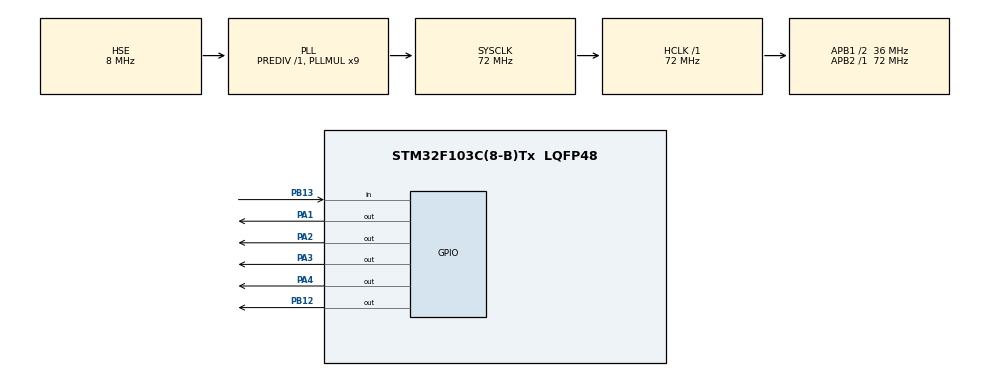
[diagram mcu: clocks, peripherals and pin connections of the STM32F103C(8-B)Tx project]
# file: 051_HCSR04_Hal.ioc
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Mcu.Family=STM32F1
Mcu.Name=STM32F103C(8-B)Tx
Mcu.Package=LQFP48
NVIC.PriorityGroup=NVIC_PRIORITYGROUP_4
PA1.Signal=GPIO_Output
PA13.Mode=Serial_Wire
PA13.Signal=SYS_JTMS-SWDIO
PA14.Mode=Serial_Wire
PA14.Signal=SYS_JTCK-SWCLK
PA2.Signal=GPIO_Output
PA3.Signal=GPIO_Output
PA4.Signal=GPIO_Output
PB12.Signal=GPIO_Output
PB13.Signal=GPIO_Input
PD0-OSC_IN.Mode=HSE-External-Oscillator
PD0-OSC_IN.Signal=RCC_OSC_IN
PD1-OSC_OUT.Mode=HSE-External-Oscillator
PD1-OSC_OUT.Signal=RCC_OSC_OUT
ProjectManager.HeapSize=0x200
ProjectManager.StackSize=0x400
ProjectManager.TargetToolchain=STM32CubeIDE
RCC.AHBFreq_Value=72000000
RCC.APB1CLKDivider=RCC_HCLK_DIV2
RCC.APB1Freq_Value=36000000
RCC.APB1TimFreq_Value=72000000
RCC.APB2Freq_Value=72000000
RCC.APB2TimFreq_Value=72000000
RCC.HCLKFreq_Value=72000000
RCC.PLLMUL=RCC_PLL_MUL9
RCC.PLLSourceVirtual=RCC_PLLSOURCE_HSE
RCC.SYSCLKFreq_VALUE=72000000
RCC.SYSCLKSource=RCC_SYSCLKSOURCE_PLLCLK
RCC.USBFreq_Value=72000000
board=custom

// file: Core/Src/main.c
/* USER CODE BEGIN Header */
/**
  ******************************************************************************
  * @file           : main.c
  * @brief          : Main program body
  ******************************************************************************
  * @attention
  *
  * Copyright (c) 2024 STMicroelectronics.
  * All rights reserved.
  *
  * This software is licensed under terms that can be found in the LICENSE file
  * in the root directory of this software component.
  * If no LICENSE file comes with this software, it is provided AS-IS.
  *
  ******************************************************************************
  */
/* USER CODE END Header */
#include "main.h"

/* USER CODE BEGIN Includes */
#include "dwt_stm32_delay.h"
/* USER CODE END Includes */

/* USER CODE BEGIN PV */
uint16_t distance;
uint32_t time;

/* USER CODE END PV */

void SystemClock_Config(void);
static void MX_GPIO_Init(void);
/* USER CODE BEGIN PFP */
uint32_t Hcsr04_Read(void);

/* USER CODE END PFP */

/* USER CODE BEGIN 0 */
uint32_t Hcsr04_Read(void){

	uint32_t local_time = 0;

	HAL_GPIO_WritePin(GPIOB, GPIO_PIN_12, GPIO_PIN_SET);
	DWT_Delay_us(10);
	HAL_GPIO_WritePin(GPIOB, GPIO_PIN_12, GPIO_PIN_RESET);

	while(!(HAL_GPIO_ReadPin(GPIOB, GPIO_PIN_13)));

	while((HAL_GPIO_ReadPin(GPIOB, GPIO_PIN_13))){
		local_time ++ ;													// increase local_time per a microsecond
		DWT_Delay_us(1);											// wait 1 microsecond
	}

	return local_time;

}

/* USER CODE END 0 */

int main(void)
{

  /* MCU Configuration--------------------------------------------------------*/

  /* Reset of all peripherals, Initializes the Flash interface and the Systick. */
  HAL_Init();

  /* Configure the system clock */
  SystemClock_Config();

  /* Initialize all configured peripherals */
  MX_GPIO_Init();
  /* USER CODE BEGIN 2 */
  DWT_Delay_Init();

  /* USER CODE END 2 */

  /* Infinite loop */
  while (1)
  {

    /* USER CODE BEGIN 3 */
	  time = Hcsr04_Read();
	  distance = time / 58;

	  if(distance < 4){
		  HAL_GPIO_WritePin(GPIOA, GPIO_PIN_1, GPIO_PIN_SET);

		  HAL_Delay(5);
		  HAL_GPIO_WritePin(GPIOA, GPIO_PIN_2  , GPIO_PIN_RESET);
		  HAL_GPIO_WritePin(GPIOA, GPIO_PIN_3 , GPIO_PIN_RESET);
		  HAL_GPIO_WritePin(GPIOA,  GPIO_PIN_4 , GPIO_PIN_RESET);

	  }
	  else if(distance > 4 && distance <= 12){
		  HAL_GPIO_WritePin(GPIOA, GPIO_PIN_1, GPIO_PIN_SET);
		  HAL_GPIO_WritePin(GPIOA,GPIO_PIN_2 , GPIO_PIN_SET);

		  HAL_Delay(5);
		  HAL_GPIO_WritePin(GPIOA, GPIO_PIN_3 , GPIO_PIN_RESET);
		  HAL_GPIO_WritePin(GPIOA,  GPIO_PIN_4 , GPIO_PIN_RESET);

	  }
	  else if(distance > 12 && distance <= 24){
		  HAL_GPIO_WritePin(GPIOA, GPIO_PIN_1, GPIO_PIN_SET);
		  HAL_GPIO_WritePin(GPIOA,GPIO_PIN_2 , GPIO_PIN_SET);
		  HAL_GPIO_WritePin(GPIOA,GPIO_PIN_3 , GPIO_PIN_SET);

		  HAL_Delay(5);
		  HAL_GPIO_WritePin(GPIOA,  GPIO_PIN_4 , GPIO_PIN_RESET);

	  }
	  else{
		  HAL_GPIO_WritePin(GPIOA, GPIO_PIN_1, GPIO_PIN_SET);
		  HAL_GPIO_WritePin(GPIOA, GPIO_PIN_2, GPIO_PIN_SET);
		  HAL_GPIO_WritePin(GPIOA, GPIO_PIN_3, GPIO_PIN_SET);
		  HAL_GPIO_WritePin(GPIOA, GPIO_PIN_4, GPIO_PIN_SET);
	  }

	  HAL_Delay(200);
  }
  /* USER CODE END 3 */
}

void SystemClock_Config(void)
{
  RCC_OscInitTypeDef RCC_OscInitStruct = {0};
  RCC_ClkInitTypeDef RCC_ClkInitStruct = {0};

  /** Initializes the RCC Oscillators according to the specified parameters
  * in the RCC_OscInitTypeDef structure.
  */
  RCC_OscInitStruct.OscillatorType = RCC_OSCILLATORTYPE_HSE;
  RCC_OscInitStruct.HSEState = RCC_HSE_ON;
  RCC_OscInitStruct.HSEPredivValue = RCC_HSE_PREDIV_DIV1;
  RCC_OscInitStruct.HSIState = RCC_HSI_ON;
  RCC_OscInitStruct.PLL.PLLState = RCC_PLL_ON;
  RCC_OscInitStruct.PLL.PLLSource = RCC_PLLSOURCE_HSE;
  RCC_OscInitStruct.PLL.PLLMUL = RCC_PLL_MUL9;
  if (HAL_RCC_OscConfig(&RCC_OscInitStruct) != HAL_OK)
  {
    Error_Handler();
  }

  /** Initializes the CPU, AHB and APB buses clocks
  */
  RCC_ClkInitStruct.ClockType = RCC_CLOCKTYPE_HCLK|RCC_CLOCKTYPE_SYSCLK
                              |RCC_CLOCKTYPE_PCLK1|RCC_CLOCKTYPE_PCLK2;
  RCC_ClkInitStruct.SYSCLKSource = RCC_SYSCLKSOURCE_PLLCLK;
  RCC_ClkInitStruct.AHBCLKDivider = RCC_SYSCLK_DIV1;
  RCC_ClkInitStruct.APB1CLKDivider = RCC_HCLK_DIV2;
  RCC_ClkInitStruct.APB2CLKDivider = RCC_HCLK_DIV1;

  if (HAL_RCC_ClockConfig(&RCC_ClkInitStruct, FLASH_LATENCY_2) != HAL_OK)
  {
    Error_Handler();
  }
}

static void MX_GPIO_Init(void)
{
  GPIO_InitTypeDef GPIO_InitStruct = {0};

  /* GPIO Ports Clock Enable */
  __HAL_RCC_GPIOD_CLK_ENABLE();
  __HAL_RCC_GPIOA_CLK_ENABLE();
  __HAL_RCC_GPIOB_CLK_ENABLE();

  /*Configure GPIO pin Output Level */
  HAL_GPIO_WritePin(GPIOA, GPIO_PIN_1|GPIO_PIN_2|GPIO_PIN_3|GPIO_PIN_4, GPIO_PIN_RESET);

  /*Configure GPIO pin Output Level */
  HAL_GPIO_WritePin(GPIOB, GPIO_PIN_12, GPIO_PIN_RESET);

  /*Configure GPIO pins : PA1 PA2 PA3 PA4 */
  GPIO_InitStruct.Pin = GPIO_PIN_1|GPIO_PIN_2|GPIO_PIN_3|GPIO_PIN_4;
  GPIO_InitStruct.Mode = GPIO_MODE_OUTPUT_PP;
  GPIO_InitStruct.Pull = GPIO_NOPULL;
  GPIO_InitStruct.Speed = GPIO_SPEED_FREQ_LOW;
  HAL_GPIO_Init(GPIOA, &GPIO_InitStruct);

  /*Configure GPIO pin : PB12 */
  GPIO_InitStruct.Pin = GPIO_PIN_12;
  GPIO_InitStruct.Mode = GPIO_MODE_OUTPUT_PP;
  GPIO_InitStruct.Pull = GPIO_NOPULL;
  GPIO_InitStruct.Speed = GPIO_SPEED_FREQ_LOW;
  HAL_GPIO_Init(GPIOB, &GPIO_InitStruct);

  /*Configure GPIO pin : PB13 */
  GPIO_InitStruct.Pin = GPIO_PIN_13;
  GPIO_InitStruct.Mode = GPIO_MODE_INPUT;
  GPIO_InitStruct.Pull = GPIO_NOPULL;
  HAL_GPIO_Init(GPIOB, &GPIO_InitStruct);

}

void Error_Handler(void)
{
  __disable_irq();
  while (1)
  {
  }
}
